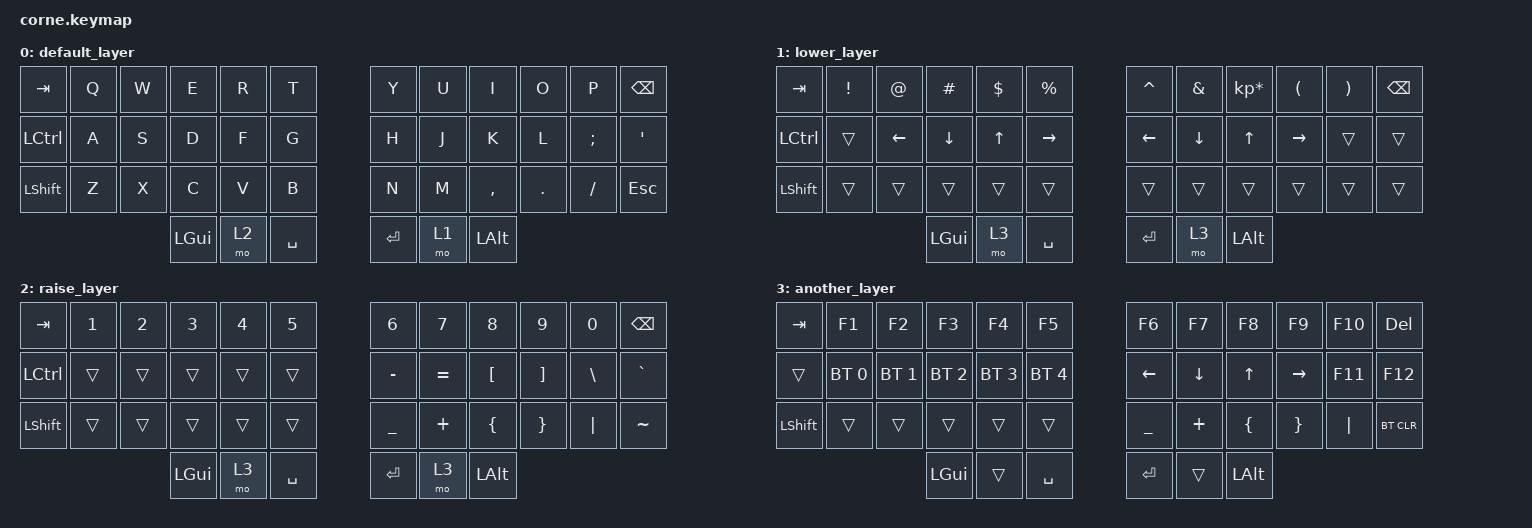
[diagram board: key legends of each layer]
/*
 * Copyright (c) 2020 The ZMK Contributors
 *
 * SPDX-License-Identifier: MIT
 */

 #include <behaviors.dtsi>
 #include <dt-bindings/zmk/keys.h>
 #include <dt-bindings/zmk/bt.h>
 
 / {
         keymap {
                 compatible = "zmk,keymap";
 
                 default_layer {
 // -----------------------------------------------------------------------------------------
 // |  TAB |  Q  |  W  |  E  |  R  |  T  |   |  Y  |  U   |  I  |  O  |  P  | BKSP |
 // | CTRL |  A  |  S  |  D  |  F  |  G  |   |  H  |  J   |  K  |  L  |  ;  |  '   |
 // | SHFT |  Z  |  X  |  C  |  V  |  B  |   |  N  |  M   |  ,  |  .  |  /  | ESC  |
 //                    | GUI | LWR | SPC |   | ENT | RSE  | ALT |
                         bindings = <
    &kp TAB   &kp Q &kp W &kp E &kp R &kp T   &kp Y &kp U  &kp I     &kp O   &kp P    &kp BSPC
    &kp LCTRL &kp A &kp S &kp D &kp F &kp G   &kp H &kp J  &kp K     &kp L   &kp SEMI &kp SQT
    &kp LSHFT &kp Z &kp X &kp C &kp V &kp B   &kp N &kp M  &kp COMMA &kp DOT &kp FSLH &kp ESC
                   &kp LGUI &mo 2 &kp SPACE   &kp RET &mo 1 &kp LALT
                         >;
                 };
                 lower_layer {
 // -----------------------------------------------------------------------------------------
 // |  TAB |  1  |  2  |  3  |  4  |  5  |   |  6  |  7  |  8  |  9  |  0  | BKSP |
 // | BTCLR| BT1 | BT2 | BT3 | BT4 | BT5 |   | LFT | DWN |  UP | RGT |     |      |
 // | SHFT |     |     |     |     |     |   |     |     |     |     |     |      |
 //                    | GUI |     | SPC |   | ENT |     | ALT |
                         bindings = <
    &kp  TAB  &kp EXCL &kp AT &kp HASH &kp DLLR &kp PRCNT   &kp CARET &kp AMPS  &kp KP_MULTIPLY &kp LPAR &kp RPAR &kp BSPC
    &kp LCTRL  &trans       &kp LEFT &kp DOWN &kp UP &kp RIGHT                    &kp LEFT &kp DOWN &kp UP &kp RIGHT    &trans &trans
    &kp LSHFT  &trans       &trans       &trans       &trans       &trans         &trans   &trans   &trans &trans    &trans &trans
                                        &kp LGUI       &mo 3      &kp SPACE       &kp RET  &mo 3   &kp LALT
                         >;
                 };
 
                 raise_layer {
 // -----------------------------------------------------------------------------------------
 // |  TAB |  !  |  @  |  #  |  $  |  %  |   |  ^  |  &  |  *  |  (  |  )  | BKSP |
 // | CTRL |     |     |     |     |     |   |  -  |  =  |  [  |  ]  |  \  |  `   |
 // | SHFT |     |     |     |     |     |   |  _  |  +  |  {  |  }  | "|" |  ~   |
 //                    | GUI |     | SPC |   | ENT |     | ALT |
                         bindings = <
    &kp TAB    &kp N1       &kp N2       &kp N3       &kp N4       &kp N5         &kp N6   &kp N7   &kp N8 &kp N9    &kp N0 &kp BSPC
    &kp LCTRL &trans   &trans &trans   &trans   &trans      &kp MINUS &kp EQUAL &kp LBKT        &kp RBKT &kp BSLH &kp GRAVE
    &kp LSHFT &trans   &trans &trans   &trans   &trans      &kp UNDER &kp PLUS  &kp LBRC        &kp RBRC &kp PIPE &kp TILDE
                              &kp LGUI &mo 3   &kp SPACE   &kp RET   &mo 3     &kp LALT
                         >;
                 };
                                 another_layer {
 // -----------------------------------------------------------------------------------------
 // |  TAB |  !  |  @  |  #  |  $  |  %  |   |  ^  |  &  |  *  |  (  |  )  | BKSP |
 // | CTRL |     |     |     |     |     |   |  -  |  =  |  [  |  ]  |  \  |  `   |
 // | SHFT |     |     |     |     |     |   |  _  |  +  |  {  |  }  | "|" |  ~   |
 //                    | GUI |     | SPC |   | ENT |     | ALT |
                         bindings = <
    &kp TAB    &kp F1       &kp F2       &kp F3       &kp F4       &kp F5         &kp F6   &kp F7   &kp F8 &kp F9    &kp F10 &kp DEL
    &trans &bt BT_SEL 0 &bt BT_SEL 1 &bt BT_SEL 2 &bt BT_SEL 3 &bt BT_SEL 4   &kp LEFT &kp DOWN &kp UP &kp RIGHT    &kp F11    &kp F12
    &kp LSHFT  &trans   &trans &trans   &trans   &trans      &kp UNDER &kp PLUS  &kp LBRC        &kp RBRC &kp PIPE &bt BT_CLR
                              &kp LGUI &trans   &kp SPACE   &kp RET   &trans    &kp LALT
                         >;
                 };
         };
 };
 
